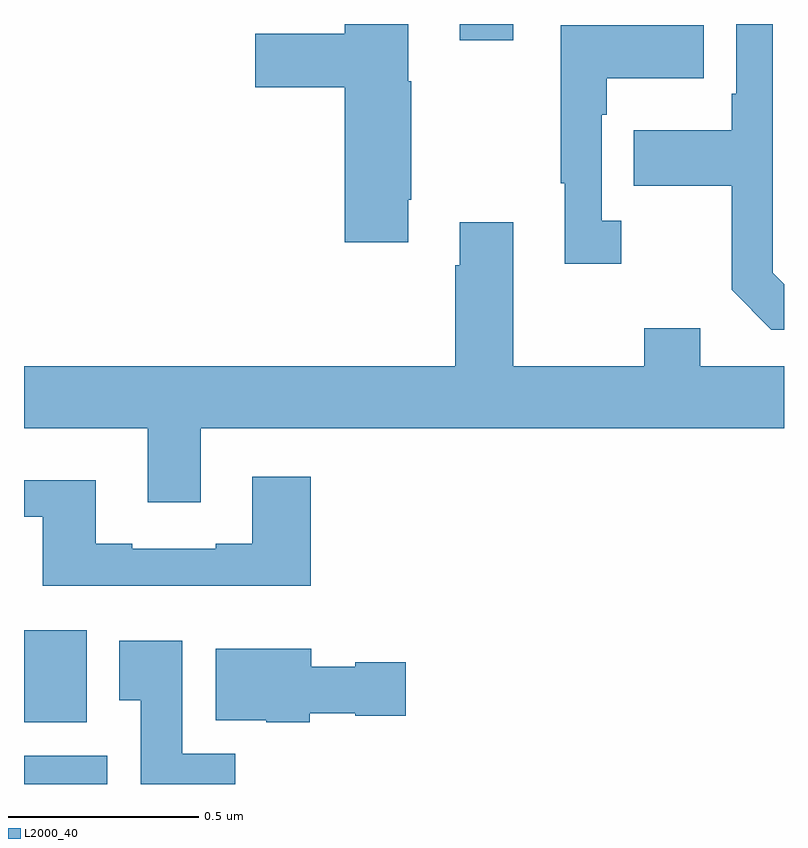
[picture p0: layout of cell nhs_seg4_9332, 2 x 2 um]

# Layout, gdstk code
import gdstk
lib = gdstk.Library(unit=1e-6, precision=1e-09)
def R(c, l, rs):  # rectangles x0, y0, x1, y1
    for r in rs: c.add(gdstk.rectangle(r[:2], r[2:], *l))
def P(c, l, *ps):  # polygons
    for p in ps: c.add(gdstk.Polygon(p, *l))
L2000_40 = (2000, 40)

nhs_seg4_9332 = lib.new_cell('nhs_seg4_9332')
R(nhs_seg4_9332, L2000_40, [(226,779.9,226.219,779.974), (226,780.062,226.165,780.304), (227.147,781.857,227.287,781.9)])
P(nhs_seg4_9332, L2000_40, [(227.011,781.438),(227.019,781.438),(227.019,781.749),(227.011,781.749),(227.011,781.9),(226.844,781.9),(226.844,781.875),(226.608,781.875),(226.608,781.733),(226.844,781.733),(226.844,781.326),(227.011,781.326)],
  [(228,781.215),(227.97,781.245),(227.97,781.9),(227.874,781.9),(227.874,781.717),(227.862,781.717),(227.862,781.621),(227.605,781.621),(227.605,781.474),(227.862,781.474),(227.862,781.201),(227.967,781.095),(228,781.095)],
  [(227.572,781.382),(227.52,781.382),(227.52,781.661),(227.533,781.661),(227.533,781.757),(227.789,781.757),(227.789,781.897),(227.412,781.897),(227.412,781.481),(227.423,781.481),(227.423,781.269),(227.572,781.269)],
  [(228,781),(227.779,781),(227.779,781.099),(227.632,781.099),(227.632,781),(227.287,781),(227.287,781.378),(227.147,781.378),(227.147,781.265),(227.135,781.265),(227.135,781),(226,781),(226,780.836),(226.325,780.836),(226.325,780.642),(226.465,780.642),(226.465,780.836),(228,780.836)],
  [(226.754,780.709),(226.601,780.709),(226.601,780.532),(226.505,780.532),(226.505,780.519),(226.285,780.519),(226.285,780.532),(226.189,780.532),(226.189,780.7),(226,780.7),(226,780.603),(226.049,780.603),(226.049,780.422),(226.754,780.422)],
  [(226.556,779.98),(226.417,779.98),(226.417,780.277),(226.25,780.277),(226.25,780.121),(226.307,780.121),(226.307,779.9),(226.556,779.9)],
  [(226.752,780.086),(226.872,780.086),(226.872,780.079),(227.005,780.079),(227.005,780.221),(226.872,780.221),(226.872,780.208),(226.756,780.208),(226.756,780.256),(226.505,780.256),(226.505,780.068),(226.638,780.068),(226.638,780.062),(226.752,780.062)])

lib.write_gds('nhs_seg4_9332.gds')
